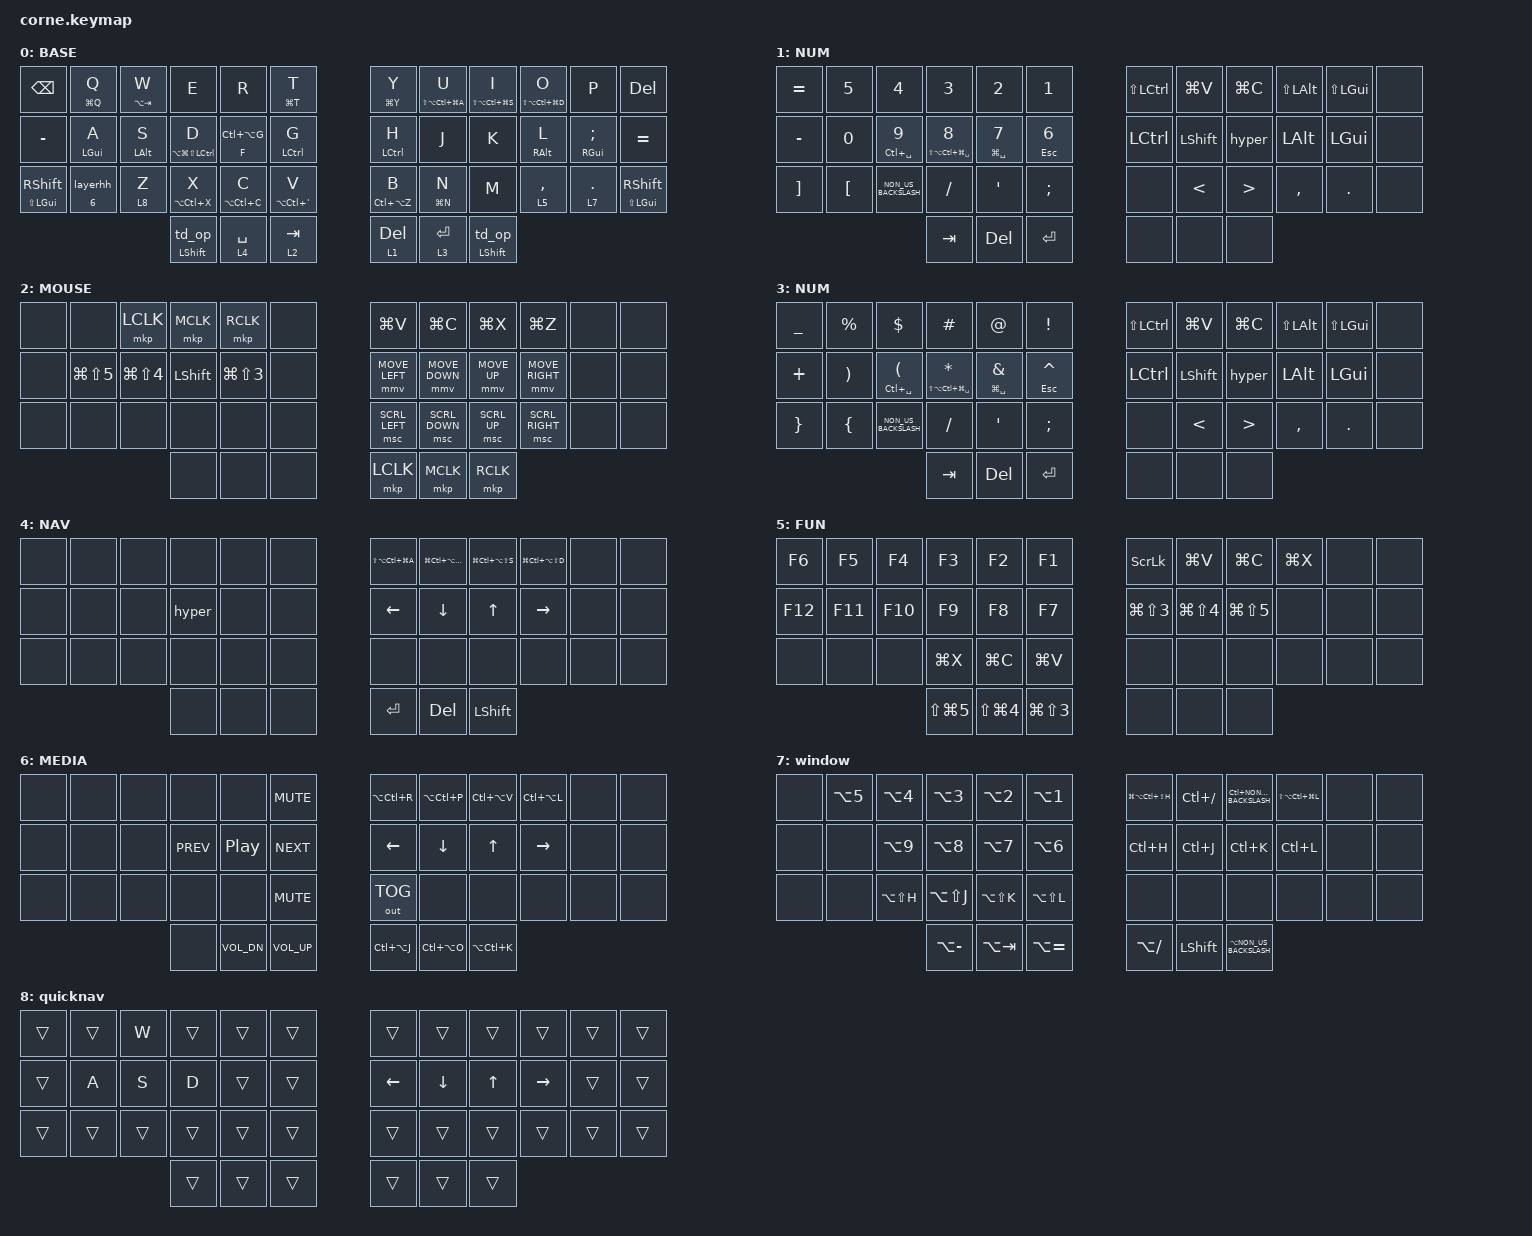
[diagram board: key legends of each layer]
/*
 * Copyright (c) 2020 The ZMK Contributors
 *
 * SPDX-License-Identifier: MIT
 */
//
//   Miryoku-style layout — QWERTY base, vim arrows (HJKL), GACS home row mods
//   Adapted from TOTEM config for Corne (42-key)
//
//   Layer 0: BASE    — QWERTY + home row mods
//   Layer 1: NAV     — vim arrows, clipboard, nav (hold SPACE)
//   Layer 2: NUM     — numpad left hand (hold BSPC)
//   Layer 3: MEDIA   — media, BT, RGB (hold ESC)
//   Layer 4: SYM     — symbols left hand (hold ENTER)
//   Layer 5: FUN     — function keys left hand (hold DEL)
//   Layer 6: MOUSE   — mouse movement, scroll, buttons (hold TAB)

#include <behaviors.dtsi>
#include <dt-bindings/zmk/keys.h>
#include <dt-bindings/zmk/outputs.h>
#include <dt-bindings/zmk/pointing.h>

#define BASE  0
#define NAV   1
#define NUM   2
#define MEDIA 3
#define SYM   4
#define FUN   5
#define MOUSE 6

// Corne key positions (42 keys):
// Row 0:  0  1  2  3  4  5    6  7  8  9  10  11
// Row 1: 12 13 14 15 16 17   18 19 20 21  22  23
// Row 2: 24 25 26 27 28 29   30 31 32 33  34  35
// Thumb:          36 37 38   39 40 41

&mt {
    flavor = "tap-preferred";
    tapping-term-ms = <450>;
    quick-tap-ms = <175>;
    require-prior-idle-ms = <150>;
};

&lt {
    flavor = "balanced";
    tapping-term-ms = <200>;
    quick-tap-ms = <175>;
};

/ {
    combos {
        compatible = "zmk,combos";

        // -- Tier 1: Essential --
        // -- Tier 2: High Value --
        // -- Tier 3: Vertical Symbol Combos --

        copy {
            bindings = <&kp LG(C)>;
            key-positions = <28 27>;
            timeout-ms = <350>;
        };

        cut {
            bindings = <&kp LG(X)>;
            key-positions = <27 26>;
            timeout-ms = <350>;
        };

        paste {
            bindings = <&kp LG(V)>;
            key-positions = <28 29>;
            timeout-ms = <350>;
        };

        backtick {
            bindings = <&kp GRAVE>;
            key-positions = <25 13>;
            timeout-ms = <350>;
        };

        undo {
            bindings = <&kp LG(Z)>;
            key-positions = <18 19>;
            timeout-ms = <350>;
        };
    };

    macros {
        hyper: hyper {
            compatible = "zmk,behavior-macro";
            #binding-cells = <0>;
            bindings =
                <&macro_press>,
                <&kp LGUI &kp LALT &kp LCTRL &kp LSHFT>,
                <&macro_pause_for_release>,
                <&macro_release>,
                <&kp LGUI &kp LALT &kp LCTRL &kp LSHFT>;
        };
    };

    behaviors {
        td_op: td_op {
            compatible = "zmk,behavior-tap-dance";
            label = "TD_OP";
            #binding-cells = <0>;
            tapping-term-ms = <300>;
            bindings = <&kp LS(LA(LC(LG(SPACE))))>, <&kp LG(SPACE)>;
        };

        hold_op: hold_op {
            compatible = "zmk,behavior-hold-tap";
            label = "HOLD_OP";
            bindings = <&kp>, <&td_op>;

            #binding-cells = <2>;
            tapping-term-ms = <350>;
            hold-while-undecided;
        };

        hold_7: hold_7 {
            compatible = "zmk,behavior-hold-tap";
            label = "HOLD_7";
            bindings = <&kp>, <&kp>;

            #binding-cells = <2>;
            tapping-term-ms = <350>;
        };

        hold_8: hold_8 {
            compatible = "zmk,behavior-hold-tap";
            label = "HOLD_8";
            bindings = <&kp>, <&kp>;

            #binding-cells = <2>;
            tapping-term-ms = <350>;
        };

        hold_9: hold_9 {
            compatible = "zmk,behavior-hold-tap";
            label = "HOLD_9";
            bindings = <&kp>, <&kp>;

            #binding-cells = <2>;
            tapping-term-ms = <350>;
        };

        layerhh: layerhh {
            compatible = "zmk,behavior-tap-dance";
            label = "LAYERHH";
            #binding-cells = <0>;
            bindings = <&kp SQT>, <&kp DOUBLE_QUOTES>;

            tapping-term-ms = <350>;
        };

        layerh: layerh {
            compatible = "zmk,behavior-hold-tap";
            label = "LAYERH";
            bindings = <&lt>, <&layerhh>;

            #binding-cells = <2>;
            tapping-term-ms = <200>;
            quick-tap-ms = <175>;
            flavor = "tap-preferred";
        };
    };

    keymap {
        compatible = "zmk,keymap";

        base_layer {
            display-name = "BASE";
            bindings = <
&kp BACKSPACE             &mt LG(Q) Q  &mt LA(TAB) W  &kp E                    &kp R            &mt LG(T) T         &mt LG(Y) Y         &mt LS(LA(LC(LG(A)))) U  &mt LS(LA(LC(LG(S)))) I  &mt LS(LA(LC(LG(D)))) O  &kp P               &kp DELETE
&kp MINUS                 &mt LGUI A   &mt LALT S     &mt LA(LG(LS(LCTRL))) D  &mt F LC(LA(G))  &mt LEFT_CONTROL G  &mt LEFT_CONTROL H  &kp J                    &kp K                    &mt RALT L               &mt RGUI SEMICOLON  &kp EQUAL
&mt LS(LGUI) RIGHT_SHIFT  &layerh 6 0  &lt 8 Z        &mt LA(LC(X)) X          &mt LA(LC(C)) C  &mt LA(LC(SQT)) V   &mt LC(LA(Z)) B     &mt LG(N) N              &kp M                    &lt 5 COMMA              &lt 7 PERIOD        &mt LS(LGUI) RIGHT_SHIFT
                                                      &hold_op LEFT_SHIFT 0    &lt 4 SPACE      &lt 2 TAB           &lt 1 DELETE        &lt 3 RET                &hold_op LSHIFT 0
            >;
        };

        numandwm {
            display-name = "NUM";
            bindings = <
&kp EQUAL          &kp N5            &kp NUMBER_4          &kp NUMBER_3                  &kp NUMBER_2      &kp NUMBER_1         &kp LS(LCTRL)  &kp LG(V)       &kp LG(C)         &kp LS(LEFT_ALT)  &kp LS(LEFT_GUI)  &none
&kp MINUS          &kp N0            &mt LC(SPACE) N9      &mt LS(LA(LC(LG(SPACE)))) N8  &mt LG(SPACE) N7  &mt ESCAPE NUMBER_6  &kp LCTRL      &kp LEFT_SHIFT  &hyper            &kp LEFT_ALT      &kp LEFT_GUI      &none
&kp RIGHT_BRACKET  &kp LEFT_BRACKET  &kp NON_US_BACKSLASH  &kp SLASH                     &kp SQT           &kp SEMICOLON        &none          &kp LESS_THAN   &kp GREATER_THAN  &kp COMMA         &kp PERIOD        &none
                                                           &kp TAB                       &kp DELETE        &kp ENTER            &none          &none           &none
            >;
        };

        mouse_layer {
            display-name = "MOUSE";
            bindings = <
&none  &none           &mkp LCLK             &mkp MCLK       &mkp RCLK             &none  &kp LG(V)       &kp LG(C)       &kp LG(X)     &kp LG(Z)        &none  &none
&none  &kp LG(LS(N5))  &kp LG(LS(NUMBER_4))  &kp LEFT_SHIFT  &kp LG(LS(NUMBER_3))  &none  &mmv MOVE_LEFT  &mmv MOVE_DOWN  &mmv MOVE_UP  &mmv MOVE_RIGHT  &none  &none
&none  &none           &none                 &none           &none                 &none  &msc SCRL_LEFT  &msc SCRL_DOWN  &msc SCRL_UP  &msc SCRL_RIGHT  &none  &none
                                             &none           &none                 &none  &mkp LCLK       &mkp MCLK       &mkp RCLK
            >;
        };

        symbols {
            display-name = "NUM";
            bindings = <
&kp UNDERSCORE   &kp PERCENT            &kp DOLLAR                      &kp HASH                            &kp AT_SIGN              &kp EXCLAMATION   &kp LS(LCTRL)  &kp LG(V)       &kp LG(C)         &kp LS(LEFT_ALT)  &kp LS(LEFT_GUI)  &none
&kp PLUS         &kp RIGHT_PARENTHESIS  &mt LC(SPACE) LEFT_PARENTHESIS  &mt LS(LA(LC(LG(SPACE)))) ASTERISK  &mt LG(SPACE) AMPERSAND  &mt ESCAPE CARET  &kp LCTRL      &kp LEFT_SHIFT  &hyper            &kp LEFT_ALT      &kp LEFT_GUI      &none
&kp RIGHT_BRACE  &kp LEFT_BRACE         &kp NON_US_BACKSLASH            &kp SLASH                           &kp SQT                  &kp SEMICOLON     &none          &kp LESS_THAN   &kp GREATER_THAN  &kp COMMA         &kp PERIOD        &none
                                                                        &kp TAB                             &kp DELETE               &kp ENTER         &none          &none           &none
            >;
        };

        nav_layer {
            display-name = "NAV";
            bindings = <
&none  &none  &none  &none   &none  &none  &kp LS(LA(LC(LG(A))))  &kp LG(LC(LA(LS(M))))  &kp LG(LC(LA(LS(S))))  &kp LG(LC(LA(LS(D))))  &none  &none
&none  &none  &none  &hyper  &none  &none  &kp LEFT               &kp DOWN               &kp UP                 &kp RIGHT              &none  &none
&none  &none  &none  &none   &none  &none  &none                  &none                  &none                  &none                  &none  &none
                     &none   &none  &none  &kp RET                &kp DEL                &kp LEFT_SHIFT
            >;
        };

        fun-action {
            display-name = "FUN";
            bindings = <
&kp F6   &kp F5   &kp F4   &kp F3          &kp F2                &kp F1                &kp SLCK              &kp LG(V)             &kp LG(C)       &kp LG(X)  &none  &none
&kp F12  &kp F11  &kp F10  &kp F9          &kp F8                &kp F7                &kp LG(LS(NUMBER_3))  &kp LG(LS(NUMBER_4))  &kp LG(LS(N5))  &none      &none  &none
&none    &none    &none    &kp LG(X)       &kp LG(C)             &kp LG(V)             &none                 &none                 &none           &none      &none  &none
                           &kp LS(LG(N5))  &kp LS(LG(NUMBER_4))  &kp LG(LS(NUMBER_3))  &none                 &none                 &none
            >;
        };

        media_layer {
            display-name = "MEDIA";
            bindings = <
&none  &none  &none  &none       &none             &kp C_MUTE    &kp LA(LC(R))  &kp LA(LC(P))  &kp LC(LA(V))  &kp LC(LA(L))  &none  &none
&none  &none  &none  &kp C_PREV  &kp C_PLAY_PAUSE  &kp C_NEXT    &kp LEFT       &kp DOWN       &kp UP_ARROW   &kp RIGHT      &none  &none
&none  &none  &none  &none       &none             &kp C_MUTE    &out OUT_TOG   &none          &none          &none          &none  &none
                     &none       &kp C_VOL_DN      &kp C_VOL_UP  &kp LC(LA(J))  &kp LC(LA(O))  &kp LA(LC(K))
            >;
        };

        window {
            bindings = <
&none  &kp LA(N5)  &kp LA(N4)     &kp LA(NUMBER_3)  &kp LA(N2)     &kp LA(N1)     &kp LG(LA(LC(LS(H))))  &kp LC(SLASH)   &kp LC(NON_US_BACKSLASH)  &kp LS(LA(LC(LG(L))))  &none  &none
&none  &none       &kp LA(N9)     &kp LA(N8)        &kp LA(N7)     &kp LA(N6)     &kp LC(H)              &kp LC(J)       &kp LC(K)                 &kp LC(L)              &none  &none
&none  &none       &kp LA(LS(H))  &kp LA(LS(J))     &kp LA(LS(K))  &kp LA(LS(L))  &none                  &none           &none                     &none                  &none  &none
                                  &kp LA(MINUS)     &kp LA(TAB)    &kp LA(EQUAL)  &kp LA(SLASH)          &kp LEFT_SHIFT  &kp LA(NON_US_BACKSLASH)
            >;
        };

        quicknav {
            bindings = <
&trans  &trans  &kp W   &trans  &trans  &trans  &trans    &trans    &trans        &trans     &trans  &trans
&trans  &kp A   &kp S   &kp D   &trans  &trans  &kp LEFT  &kp DOWN  &kp UP_ARROW  &kp RIGHT  &trans  &trans
&trans  &trans  &trans  &trans  &trans  &trans  &trans    &trans    &trans        &trans     &trans  &trans
                        &trans  &trans  &trans  &trans    &trans    &trans
            >;
        };
    };
};
